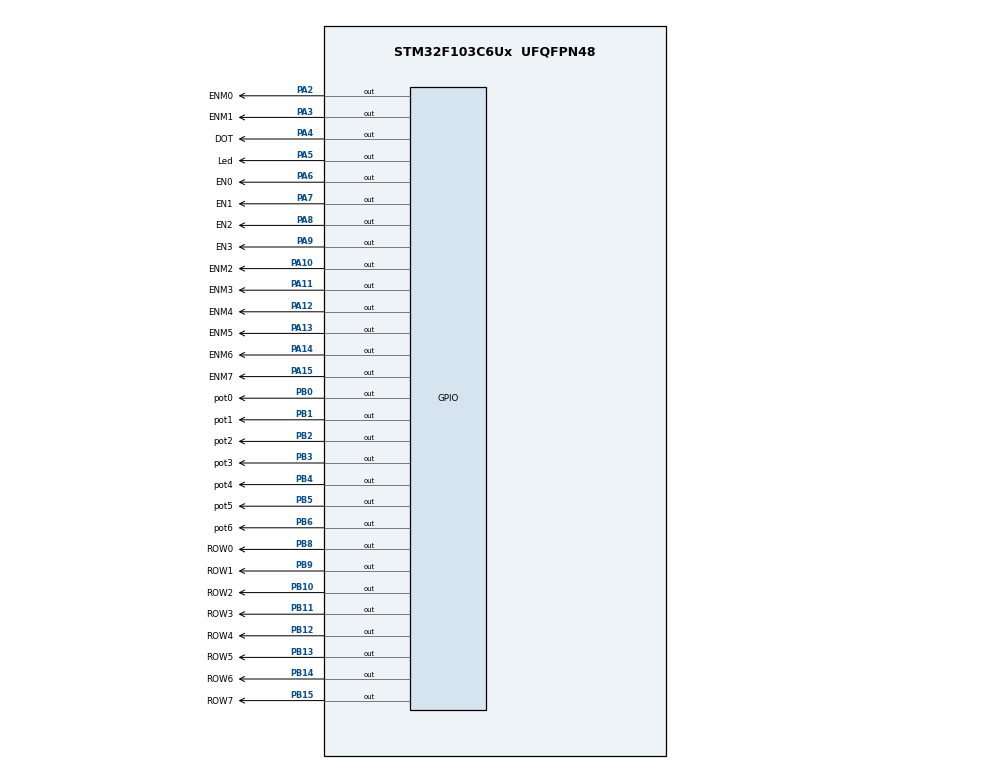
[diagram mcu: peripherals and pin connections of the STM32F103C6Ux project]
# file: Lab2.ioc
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Mcu.Family=STM32F1
Mcu.Name=STM32F103C6Ux
Mcu.Package=UFQFPN48
NVIC.PriorityGroup=NVIC_PRIORITYGROUP_4
NVIC.TIM2_IRQn=true\:0\:0\:false\:false\:true\:true\:true\:true
PA10.GPIO_Label=ENM2
PA10.Signal=GPIO_Output
PA11.GPIO_Label=ENM3
PA11.Signal=GPIO_Output
PA12.GPIO_Label=ENM4
PA12.Signal=GPIO_Output
PA13.GPIO_Label=ENM5
PA13.Signal=GPIO_Output
PA14.GPIO_Label=ENM6
PA14.Signal=GPIO_Output
PA15.GPIO_Label=ENM7
PA15.Signal=GPIO_Output
PA2.GPIO_Label=ENM0
PA2.Signal=GPIO_Output
PA3.GPIO_Label=ENM1
PA3.Signal=GPIO_Output
PA4.GPIO_Label=DOT
PA4.Signal=GPIO_Output
PA5.GPIO_Label=Led
PA5.Signal=GPIO_Output
PA6.GPIO_Label=EN0
PA6.Signal=GPIO_Output
PA7.GPIO_Label=EN1
PA7.Signal=GPIO_Output
PA8.GPIO_Label=EN2
PA8.Signal=GPIO_Output
PA9.GPIO_Label=EN3
PA9.Signal=GPIO_Output
PB0.GPIO_Label=pot0
PB0.Signal=GPIO_Output
PB1.GPIO_Label=pot1
PB1.Signal=GPIO_Output
PB10.GPIO_Label=ROW2
PB10.Signal=GPIO_Output
PB11.GPIO_Label=ROW3
PB11.Signal=GPIO_Output
PB12.GPIO_Label=ROW4
PB12.Signal=GPIO_Output
PB13.GPIO_Label=ROW5
PB13.Signal=GPIO_Output
PB14.GPIO_Label=ROW6
PB14.Signal=GPIO_Output
PB15.GPIO_Label=ROW7
PB15.Signal=GPIO_Output
PB2.GPIO_Label=pot2
PB2.Signal=GPIO_Output
PB3.GPIO_Label=pot3
PB3.Signal=GPIO_Output
PB4.GPIO_Label=pot4
PB4.Signal=GPIO_Output
PB5.GPIO_Label=pot5
PB5.Signal=GPIO_Output
PB6.GPIO_Label=pot6
PB6.Signal=GPIO_Output
PB8.GPIO_Label=ROW0
PB8.Signal=GPIO_Output
PB9.GPIO_Label=ROW1
PB9.Signal=GPIO_Output
ProjectManager.HeapSize=0x200
ProjectManager.StackSize=0x400
ProjectManager.TargetToolchain=STM32CubeIDE
RCC.APB1Freq_Value=8000000
RCC.APB2Freq_Value=8000000
TIM2.Period=9
TIM2.Prescaler=7999
VP_TIM2_VS_ClockSourceINT.Mode=Internal
board=custom

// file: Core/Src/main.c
/* USER CODE BEGIN Header */
/**
  ******************************************************************************
  * @file           : main.c
  * @brief          : Main program body
  ******************************************************************************
  * @attention
  *
  * Copyright (c) 2023 STMicroelectronics.
  * All rights reserved.
  *
  * This software is licensed under terms that can be found in the LICENSE file
  * in the root directory of this software component.
  * If no LICENSE file comes with this software, it is provided AS-IS.
  *
  ******************************************************************************
  */
/* USER CODE END Header */
#include "main.h"

TIM_HandleTypeDef htim2;

void SystemClock_Config(void);
static void MX_GPIO_Init(void);
static void MX_TIM2_Init(void);

/* USER CODE BEGIN 0 */

void display7SEG(int num){
	if (num==0){
		HAL_GPIO_WritePin(GPIOB, pot0_Pin, RESET);
		HAL_GPIO_WritePin(GPIOB, pot1_Pin, RESET);
		HAL_GPIO_WritePin(GPIOB, pot2_Pin, RESET);
		HAL_GPIO_WritePin(GPIOB, pot3_Pin, RESET);
		HAL_GPIO_WritePin(GPIOB, pot4_Pin, RESET);
		HAL_GPIO_WritePin(GPIOB, pot5_Pin, RESET);
		HAL_GPIO_WritePin(GPIOB, pot6_Pin, SET);
	}
	else if (num==1){
		HAL_GPIO_WritePin(GPIOB, pot0_Pin, SET);
		HAL_GPIO_WritePin(GPIOB, pot1_Pin, RESET);
		HAL_GPIO_WritePin(GPIOB, pot2_Pin, RESET);
		HAL_GPIO_WritePin(GPIOB, pot3_Pin, SET);
		HAL_GPIO_WritePin(GPIOB, pot4_Pin, SET);
		HAL_GPIO_WritePin(GPIOB, pot5_Pin, SET);
		HAL_GPIO_WritePin(GPIOB, pot6_Pin, SET);
	}

	else if (num==2){
		HAL_GPIO_WritePin(GPIOB, pot0_Pin, RESET);
		HAL_GPIO_WritePin(GPIOB, pot1_Pin, RESET);
		HAL_GPIO_WritePin(GPIOB, pot2_Pin, SET);
		HAL_GPIO_WritePin(GPIOB, pot3_Pin, RESET);
		HAL_GPIO_WritePin(GPIOB, pot4_Pin, RESET);
		HAL_GPIO_WritePin(GPIOB, pot5_Pin, SET);
		HAL_GPIO_WritePin(GPIOB, pot6_Pin, RESET);
	}

	else if (num==3){
		HAL_GPIO_WritePin(GPIOB, pot0_Pin, RESET);
		HAL_GPIO_WritePin(GPIOB, pot1_Pin, RESET);
		HAL_GPIO_WritePin(GPIOB, pot2_Pin, RESET);
		HAL_GPIO_WritePin(GPIOB, pot3_Pin, RESET);
		HAL_GPIO_WritePin(GPIOB, pot4_Pin, SET);
		HAL_GPIO_WritePin(GPIOB, pot5_Pin, SET);
		HAL_GPIO_WritePin(GPIOB, pot6_Pin, RESET);
	}

	else if (num==4){
		HAL_GPIO_WritePin(GPIOB, pot0_Pin, SET);
		HAL_GPIO_WritePin(GPIOB, pot1_Pin, RESET);
		HAL_GPIO_WritePin(GPIOB, pot2_Pin, RESET);
		HAL_GPIO_WritePin(GPIOB, pot3_Pin, SET);
		HAL_GPIO_WritePin(GPIOB, pot4_Pin, SET);
		HAL_GPIO_WritePin(GPIOB, pot5_Pin, RESET);
		HAL_GPIO_WritePin(GPIOB, pot6_Pin, RESET);
	}

	else if (num==5){
		HAL_GPIO_WritePin(GPIOB, pot0_Pin, RESET);
		HAL_GPIO_WritePin(GPIOB, pot1_Pin, SET);
		HAL_GPIO_WritePin(GPIOB, pot2_Pin, RESET);
		HAL_GPIO_WritePin(GPIOB, pot3_Pin, RESET);
		HAL_GPIO_WritePin(GPIOB, pot4_Pin, SET);
		HAL_GPIO_WritePin(GPIOB, pot5_Pin, RESET);
		HAL_GPIO_WritePin(GPIOB, pot6_Pin, RESET);
	}

	else if (num==6){
		HAL_GPIO_WritePin(GPIOB, pot0_Pin, RESET);
		HAL_GPIO_WritePin(GPIOB, pot1_Pin, SET);
		HAL_GPIO_WritePin(GPIOB, pot2_Pin, RESET);
		HAL_GPIO_WritePin(GPIOB, pot3_Pin, RESET);
		HAL_GPIO_WritePin(GPIOB, pot4_Pin, RESET);
		HAL_GPIO_WritePin(GPIOB, pot5_Pin, RESET);
		HAL_GPIO_WritePin(GPIOB, pot6_Pin, RESET);
	}

	else if (num==7){
		HAL_GPIO_WritePin(GPIOB, pot0_Pin, RESET);
		HAL_GPIO_WritePin(GPIOB, pot1_Pin, RESET);
		HAL_GPIO_WritePin(GPIOB, pot2_Pin, RESET);
		HAL_GPIO_WritePin(GPIOB, pot3_Pin, SET);
		HAL_GPIO_WritePin(GPIOB, pot4_Pin, SET);
		HAL_GPIO_WritePin(GPIOB, pot5_Pin, SET);
		HAL_GPIO_WritePin(GPIOB, pot6_Pin, SET);
	}
	else if (num==8){
		HAL_GPIO_WritePin(GPIOB, pot0_Pin, RESET);
		HAL_GPIO_WritePin(GPIOB, pot1_Pin, RESET);
		HAL_GPIO_WritePin(GPIOB, pot2_Pin, RESET);
		HAL_GPIO_WritePin(GPIOB, pot3_Pin, RESET);
		HAL_GPIO_WritePin(GPIOB, pot4_Pin, RESET);
		HAL_GPIO_WritePin(GPIOB, pot5_Pin, RESET);
		HAL_GPIO_WritePin(GPIOB, pot6_Pin, RESET);
	}

	else if (num==9){
		HAL_GPIO_WritePin(GPIOB, pot0_Pin, RESET);
		HAL_GPIO_WritePin(GPIOB, pot1_Pin, RESET);
		HAL_GPIO_WritePin(GPIOB, pot2_Pin, RESET);
		HAL_GPIO_WritePin(GPIOB, pot3_Pin, RESET);
		HAL_GPIO_WritePin(GPIOB, pot4_Pin, SET);
		HAL_GPIO_WritePin(GPIOB, pot5_Pin, RESET);
		HAL_GPIO_WritePin(GPIOB, pot6_Pin, RESET);
	}

}
const int MAX_LED = 4;
int index_led = 0;
int led_buffer[4] = {1, 2, 3, 0};
void update7SEG(int index){
	switch (index){
	case 0 :
		//Display the first 7SEG with led_buffer[0]
		HAL_GPIO_WritePin(EN0_GPIO_Port, EN0_Pin, RESET);
		HAL_GPIO_WritePin(EN1_GPIO_Port, EN1_Pin, SET);
		HAL_GPIO_WritePin(EN2_GPIO_Port, EN2_Pin, SET);
		HAL_GPIO_WritePin(EN3_GPIO_Port, EN3_Pin, SET);
		HAL_GPIO_WritePin(DOT_GPIO_Port, DOT_Pin, SET);
		display7SEG(led_buffer[0]);
		break;
	case 1 :
		//Display the first 7SEG with led_buffer[1]
		HAL_GPIO_WritePin(EN0_GPIO_Port, EN0_Pin, SET);
		HAL_GPIO_WritePin(EN1_GPIO_Port, EN1_Pin, RESET);
		HAL_GPIO_WritePin(EN2_GPIO_Port, EN2_Pin, SET);
		HAL_GPIO_WritePin(EN3_GPIO_Port, EN3_Pin, SET);
		display7SEG(led_buffer[1]);
		HAL_GPIO_WritePin(DOT_GPIO_Port, DOT_Pin, RESET);
		break;
	case 2 :
		//Display the first 7SEG with led_buffer[2]
		HAL_GPIO_WritePin(EN0_GPIO_Port, EN0_Pin, SET);
		HAL_GPIO_WritePin(EN1_GPIO_Port, EN1_Pin, SET);
		HAL_GPIO_WritePin(EN2_GPIO_Port, EN2_Pin, RESET);
		HAL_GPIO_WritePin(EN3_GPIO_Port, EN3_Pin, SET);
		display7SEG(led_buffer[2]);
		HAL_GPIO_WritePin(DOT_GPIO_Port, DOT_Pin, SET);
		break;
	case 3 :
		//Display the first 7SEG with led_buffer[3]
		HAL_GPIO_WritePin(EN0_GPIO_Port, EN0_Pin, SET);
		HAL_GPIO_WritePin(EN1_GPIO_Port, EN1_Pin, SET);
		HAL_GPIO_WritePin(EN2_GPIO_Port, EN2_Pin, SET);
		HAL_GPIO_WritePin(EN3_GPIO_Port, EN3_Pin, RESET);
		HAL_GPIO_WritePin(DOT_GPIO_Port, DOT_Pin, SET);
		display7SEG(led_buffer[3]);
		break;
	default:
		break;
	}
}

void updateClockBuffer(int hour, int minute){
	  led_buffer[1] =  (int)(hour%10);
	  led_buffer[0] = (int)(hour/10);
	  led_buffer[2] =  (int)(minute/10);
	  led_buffer[3] = (int)(minute%10);

}

int timer0_counter = 0;
int timer0_flag = 0;
int TIMER_CYCLE = 10;
void setTimer0(int duration){
	timer0_counter = duration /TIMER_CYCLE;
	timer0_flag = 0;
}
void timer_run(){
	if(timer0_counter > 0){
		timer0_counter--;
		if(timer0_counter == 0) timer0_flag = 1;
	}
}

const int MAX_LED_MATRIX = 8;
int index_led_matrix = 0;
uint8_t matrix_buffer[8] = {0x01, 0x02, 0x04, 0x08, 0x10, 0x20, 0x40, 0x80};
uint8_t Colum[8] = {0x01, 0x02, 0x03, 0x04, 0x05, 0x06, 0x07, 0x08};
uint8_t characterA[8] = {
    0b00000000,
    0b11111100,
    0b00010010,
    0b00010001,
    0b00010001,
    0b00010010,
    0b11111100,
	0b00000000
};
void DiplayMatrix(uint8_t input){
	HAL_GPIO_WritePin(ROW0_GPIO_Port, ROW0_Pin, SET ? !(matrix_buffer[0] & input) : RESET);
	HAL_GPIO_WritePin(ROW1_GPIO_Port, ROW1_Pin, SET ? !(matrix_buffer[1] & input) : RESET);
	HAL_GPIO_WritePin(ROW2_GPIO_Port, ROW2_Pin, SET ? !(matrix_buffer[2] & input) : RESET);
	HAL_GPIO_WritePin(ROW3_GPIO_Port, ROW3_Pin, SET ? !(matrix_buffer[3] & input) : RESET);
	HAL_GPIO_WritePin(ROW4_GPIO_Port, ROW4_Pin, SET ? !(matrix_buffer[4] & input) : RESET);
	HAL_GPIO_WritePin(ROW5_GPIO_Port, ROW5_Pin, SET ? !(matrix_buffer[5] & input) : RESET);
	HAL_GPIO_WritePin(ROW6_GPIO_Port, ROW6_Pin, SET ? !(matrix_buffer[6] & input) : RESET);
	HAL_GPIO_WritePin(ROW7_GPIO_Port, ROW7_Pin, SET ? !(matrix_buffer[7] & input) : RESET);
}

void ColumMatrix(int input){
	HAL_GPIO_WritePin(ENM0_GPIO_Port, ENM0_Pin, SET ? !(matrix_buffer[input] & matrix_buffer[0]) : RESET);
	HAL_GPIO_WritePin(ENM1_GPIO_Port, ENM1_Pin, SET ? !(matrix_buffer[input] & matrix_buffer[1]) : RESET);
	HAL_GPIO_WritePin(ENM2_GPIO_Port, ENM2_Pin, SET ? !(matrix_buffer[input] & matrix_buffer[2]) : RESET);
	HAL_GPIO_WritePin(ENM3_GPIO_Port, ENM3_Pin, SET ? !(matrix_buffer[input] & matrix_buffer[3]) : RESET);
	HAL_GPIO_WritePin(ENM4_GPIO_Port, ENM4_Pin, SET ? !(matrix_buffer[input] & matrix_buffer[4]) : RESET);
	HAL_GPIO_WritePin(ENM5_GPIO_Port, ENM5_Pin, SET ? !(matrix_buffer[input] & matrix_buffer[5]) : RESET);
	HAL_GPIO_WritePin(ENM6_GPIO_Port, ENM6_Pin, SET ? !(matrix_buffer[input] & matrix_buffer[6]) : RESET);
	HAL_GPIO_WritePin(ENM7_GPIO_Port, ENM7_Pin, SET ? !(matrix_buffer[input] & matrix_buffer[7]) : RESET);
}

/* USER CODE END 0 */

int main(void)
{

  /* MCU Configuration--------------------------------------------------------*/

  /* Reset of all peripherals, Initializes the Flash interface and the Systick. */
  HAL_Init();

  /* Configure the system clock */
  SystemClock_Config();

  /* Initialize all configured peripherals */
  MX_GPIO_Init();
  MX_TIM2_Init();
  /* USER CODE BEGIN 2 */
  HAL_TIM_Base_Start_IT(&htim2);
  /* USER CODE END 2 */

  /* Infinite loop */
  /* USER CODE BEGIN WHILE */
  int index_colum = 0;
  while (1)
  {
	  ColumMatrix(index_colum);
	  DiplayMatrix(characterA[index_colum]);
	  index_colum++;
	  if(index_colum > 7)
	  {
		  index_colum = 0;
	  }
	  HAL_Delay(3);
    /* USER CODE END WHILE */

  }
}

void SystemClock_Config(void)
{
  RCC_OscInitTypeDef RCC_OscInitStruct = {0};
  RCC_ClkInitTypeDef RCC_ClkInitStruct = {0};

  /** Initializes the RCC Oscillators according to the specified parameters
  * in the RCC_OscInitTypeDef structure.
  */
  RCC_OscInitStruct.OscillatorType = RCC_OSCILLATORTYPE_HSI;
  RCC_OscInitStruct.HSIState = RCC_HSI_ON;
  RCC_OscInitStruct.HSICalibrationValue = RCC_HSICALIBRATION_DEFAULT;
  RCC_OscInitStruct.PLL.PLLState = RCC_PLL_NONE;
  if (HAL_RCC_OscConfig(&RCC_OscInitStruct) != HAL_OK)
  {
    Error_Handler();
  }

  /** Initializes the CPU, AHB and APB buses clocks
  */
  RCC_ClkInitStruct.ClockType = RCC_CLOCKTYPE_HCLK|RCC_CLOCKTYPE_SYSCLK
                              |RCC_CLOCKTYPE_PCLK1|RCC_CLOCKTYPE_PCLK2;
  RCC_ClkInitStruct.SYSCLKSource = RCC_SYSCLKSOURCE_HSI;
  RCC_ClkInitStruct.AHBCLKDivider = RCC_SYSCLK_DIV1;
  RCC_ClkInitStruct.APB1CLKDivider = RCC_HCLK_DIV1;
  RCC_ClkInitStruct.APB2CLKDivider = RCC_HCLK_DIV1;

  if (HAL_RCC_ClockConfig(&RCC_ClkInitStruct, FLASH_LATENCY_0) != HAL_OK)
  {
    Error_Handler();
  }
}

static void MX_TIM2_Init(void)
{

  TIM_ClockConfigTypeDef sClockSourceConfig = {0};
  TIM_MasterConfigTypeDef sMasterConfig = {0};

  htim2.Instance = TIM2;
  htim2.Init.Prescaler = 7999;
  htim2.Init.CounterMode = TIM_COUNTERMODE_UP;
  htim2.Init.Period = 9;
  htim2.Init.ClockDivision = TIM_CLOCKDIVISION_DIV1;
  htim2.Init.AutoReloadPreload = TIM_AUTORELOAD_PRELOAD_DISABLE;
  if (HAL_TIM_Base_Init(&htim2) != HAL_OK)
  {
    Error_Handler();
  }
  sClockSourceConfig.ClockSource = TIM_CLOCKSOURCE_INTERNAL;
  if (HAL_TIM_ConfigClockSource(&htim2, &sClockSourceConfig) != HAL_OK)
  {
    Error_Handler();
  }
  sMasterConfig.MasterOutputTrigger = TIM_TRGO_RESET;
  sMasterConfig.MasterSlaveMode = TIM_MASTERSLAVEMODE_DISABLE;
  if (HAL_TIMEx_MasterConfigSynchronization(&htim2, &sMasterConfig) != HAL_OK)
  {
    Error_Handler();
  }

}

static void MX_GPIO_Init(void)
{
  GPIO_InitTypeDef GPIO_InitStruct = {0};

  /* GPIO Ports Clock Enable */
  __HAL_RCC_GPIOA_CLK_ENABLE();
  __HAL_RCC_GPIOB_CLK_ENABLE();

  /*Configure GPIO pin Output Level */
  HAL_GPIO_WritePin(GPIOA, ENM0_Pin|ENM1_Pin|DOT_Pin|Led_Pin
                          |EN0_Pin|EN1_Pin|EN2_Pin|EN3_Pin
                          |ENM2_Pin|ENM3_Pin|ENM4_Pin|ENM5_Pin
                          |ENM6_Pin|ENM7_Pin, GPIO_PIN_RESET);

  /*Configure GPIO pin Output Level */
  HAL_GPIO_WritePin(GPIOB, pot0_Pin|pot1_Pin|pot2_Pin|ROW2_Pin
                          |ROW3_Pin|ROW4_Pin|ROW5_Pin|ROW6_Pin
                          |ROW7_Pin|pot3_Pin|pot4_Pin|pot5_Pin
                          |pot6_Pin|ROW0_Pin|ROW1_Pin, GPIO_PIN_RESET);

  /*Configure GPIO pins : ENM0_Pin ENM1_Pin DOT_Pin Led_Pin
                           EN0_Pin EN1_Pin EN2_Pin EN3_Pin
                           ENM2_Pin ENM3_Pin ENM4_Pin ENM5_Pin
                           ENM6_Pin ENM7_Pin */
  GPIO_InitStruct.Pin = ENM0_Pin|ENM1_Pin|DOT_Pin|Led_Pin
                          |EN0_Pin|EN1_Pin|EN2_Pin|EN3_Pin
                          |ENM2_Pin|ENM3_Pin|ENM4_Pin|ENM5_Pin
                          |ENM6_Pin|ENM7_Pin;
  GPIO_InitStruct.Mode = GPIO_MODE_OUTPUT_PP;
  GPIO_InitStruct.Pull = GPIO_NOPULL;
  GPIO_InitStruct.Speed = GPIO_SPEED_FREQ_LOW;
  HAL_GPIO_Init(GPIOA, &GPIO_InitStruct);

  /*Configure GPIO pins : pot0_Pin pot1_Pin pot2_Pin ROW2_Pin
                           ROW3_Pin ROW4_Pin ROW5_Pin ROW6_Pin
                           ROW7_Pin pot3_Pin pot4_Pin pot5_Pin
                           pot6_Pin ROW0_Pin ROW1_Pin */
  GPIO_InitStruct.Pin = pot0_Pin|pot1_Pin|pot2_Pin|ROW2_Pin
                          |ROW3_Pin|ROW4_Pin|ROW5_Pin|ROW6_Pin
                          |ROW7_Pin|pot3_Pin|pot4_Pin|pot5_Pin
                          |pot6_Pin|ROW0_Pin|ROW1_Pin;
  GPIO_InitStruct.Mode = GPIO_MODE_OUTPUT_PP;
  GPIO_InitStruct.Pull = GPIO_NOPULL;
  GPIO_InitStruct.Speed = GPIO_SPEED_FREQ_LOW;
  HAL_GPIO_Init(GPIOB, &GPIO_InitStruct);

}

/* USER CODE BEGIN 4 */
void HAL_TIM_PeriodElapsedCallback(TIM_HandleTypeDef *htim){
	timer_run();
}
/* USER CODE END 4 */

void Error_Handler(void)
{
  __disable_irq();
  while (1)
  {
  }
}
